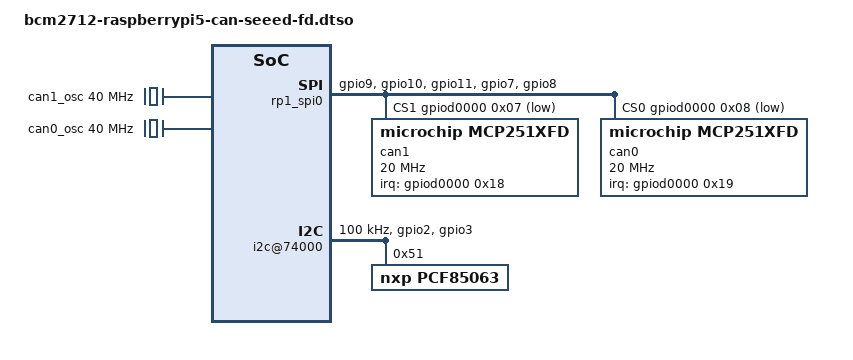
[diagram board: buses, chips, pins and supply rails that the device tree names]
/*
 * Copyright (c) 2025 EPAM systems
 *
 * SPDX-License-Identifier: Apache-2.0
*/
/dts-v1/;
/plugin/;

&passthrough {
	can1_osc: mcp251xfd-spi0-1-osc {
		#clock-cells = <0x00>;
		clock-frequency = <40000000>;
		compatible = "fixed-clock";
	};

	can0_osc: mcp251xfd-spi0-0-osc {
		#clock-cells = <0x00>;
		clock-frequency = <40000000>;
		compatible = "fixed-clock";
	};
};


&gpiod0000 {
	can1_pins: mcp251xfd_spi0_1_pins {
		brcm,function = <0x00>;
		brcm,pins = <0x18>;
	};

	can0_pins: mcp251xfd_spi0_0_pins {
		brcm,function = <0x00>;
		brcm,pins = <0x19>;
	};

	spi0_pins: rp1_spi0_gpio9 {
		function = "spi0";
		pins = "gpio9", "gpio10", "gpio11";
		drive-strength = <0x0c>;
		bias-disable;
		slew-rate = <0x01>;
	};

	spi0_cs_pins: rp1_spi0_cs_gpio7 {
		function = "spi0";
		pins = "gpio7", "gpio8";
		bias-pull-up;
	};

	i2c1_pins: rp1_i2c1_2_3 {
		function = "i2c1";
		pins = "gpio2", "gpio3";
		drive-strength = <0x0c>;
		bias-pull-up;
	};
};

&rp1 {
	rp1_dma: dma@188000 {
		snps,data-width = <0x04>;
		snps,priority = <0x00 0x01 0x02 0x03 0x04 0x05 0x06 0x07>;
		clock-names = "core-clk", "cfgr-clk";
		interrupts = <0x28 0x04>;
		clocks = <&clocks18000 0x0e &clocks18000 0x0c>;
		snps,axi-max-burst-len = <0x04>;
		snps,dma-masters = <0x01>;
		compatible = "snps,axi-dma-1.01a";
		status = "okay";
		snps,block-size = <0x40000 0x40000 0x40000 0x40000 0x40000 0x40000 0x40000 0x40000>;
		reg = <0xc0 0x40188000 0x00 0x1000>;
		snps,dma-targets = <0x40>;
		dma-channels = <0x08>;
		#dma-cells = <0x01>;
	};

	rp1_spi0: spi@50000 {
		pinctrl-names = "default";
		#address-cells = <0x01>;
		num-cs = <0x02>;
		pinctrl-0 = <&spi0_pins>, <&spi0_cs_pins>;
		clock-names = "ssi_clk";
		interrupts = <0x13 0x04>;
		clocks = <&clocks18000 0x0c>;
		#size-cells = <0x00>;
		dma-names = "tx", "rx";
		compatible = "snps,dw-apb-ssi";
		status = "okay";
		reg = <0xc0 0x40050000 0x00 0x130>;
		dmas = <&rp1_dma 0x0d>,
		       <&rp1_dma 0x0c>;
		cs-gpios = <&gpiod0000 0x08 0x01>, <&gpiod0000 0x07 0x01>;

		can1: mcp251xfd@1 {
			pinctrl-names = "default";
			pinctrl-0 = <&can1_pins>;
			interrupts = <0x18 0x08>;
			clocks = <&can1_osc>;
			spi-max-frequency = <20000000>;
			interrupt-parent = <&gpiod0000>;
			compatible = "microchip,mcp251xfd";
			reg = <0x01>;
		};

		can0: mcp251xfd@0 {
			pinctrl-names = "default";
			pinctrl-0 = <&can0_pins>;
			interrupts = <0x19 0x08>;
			clocks = <&can0_osc>;
			spi-max-frequency = <20000000>;
			interrupt-parent = <&gpiod0000>;
			compatible = "microchip,mcp251xfd";
			reg = <0x00>;
		};
	};

	i2c@74000 {
		pinctrl-names = "default";
		#address-cells = <0x01>;
		pinctrl-0 = <&i2c1_pins>;
		i2c-scl-rising-time-ns = <65>;
		i2c-scl-falling-time-ns = <100>;
		interrupts = <0x08 0x04>;
		clocks = <&clocks18000 0x0c>;
		#size-cells = <0x00>;
		clock-frequency = <0x186a0>;
		compatible = "snps,designware-i2c";
		status = "okay";
		reg = <0xc0 0x40074000 0x00 0x1000>;

		pcf85063@51 {
			compatible = "nxp,pcf85063";
			reg = <0x51>;
		};
	};
};
